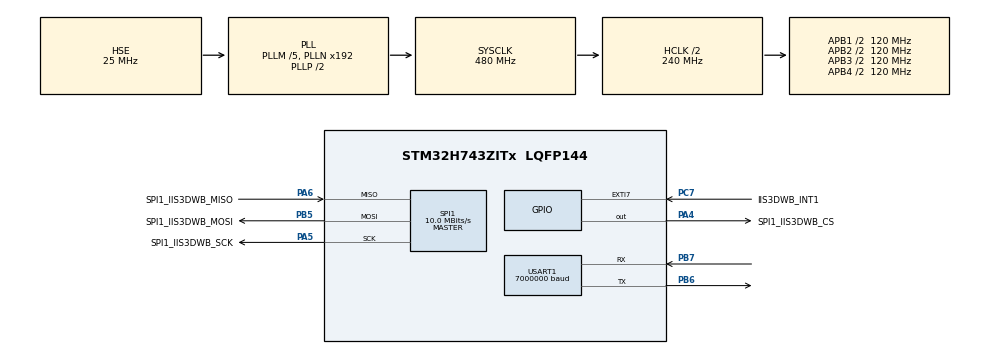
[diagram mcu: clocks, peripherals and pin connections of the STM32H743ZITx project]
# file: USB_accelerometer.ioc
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CORTEX_M7.CPU_DCache=Enabled
CORTEX_M7.CPU_ICache=Enabled
CORTEX_M7.default_mode_Activation=1
Mcu.Family=STM32H7
Mcu.Name=STM32H743ZITx
Mcu.Package=LQFP144
NVIC.EXTI9_5_IRQn=true\:5\:0\:true\:true\:true\:1\:true\:true\:true
NVIC.PriorityGroup=NVIC_PRIORITYGROUP_4
PA13\ (JTMS/SWDIO).Mode=Trace_Asynchronous_SW
PA13\ (JTMS/SWDIO).Signal=DEBUG_JTMS-SWDIO
PA14\ (JTCK/SWCLK).Mode=Trace_Asynchronous_SW
PA14\ (JTCK/SWCLK).Signal=DEBUG_JTCK-SWCLK
PA4.GPIO_Label=SPI1_IIS3DWB_CS
PA4.GPIO_PuPd=GPIO_PULLUP
PA4.GPIO_Speed=GPIO_SPEED_FREQ_MEDIUM
PA4.PinState=GPIO_PIN_SET
PA4.Signal=GPIO_Output
PA5.GPIO_Label=SPI1_IIS3DWB_SCK
PA5.GPIO_PuPd=GPIO_PULLUP
PA5.GPIO_Speed=GPIO_SPEED_FREQ_MEDIUM
PA5.Mode=Full_Duplex_Master
PA5.Signal=SPI1_SCK
PA6.GPIO_Label=SPI1_IIS3DWB_MISO
PA6.GPIO_PuPd=GPIO_PULLUP
PA6.GPIO_Speed=GPIO_SPEED_FREQ_MEDIUM
PA6.Mode=Full_Duplex_Master
PA6.Signal=SPI1_MISO
PB3\ (JTDO/TRACESWO).Mode=Trace_Asynchronous_SW
PB3\ (JTDO/TRACESWO).Signal=DEBUG_JTDO-SWO
PB5.GPIO_Label=SPI1_IIS3DWB_MOSI
PB5.GPIO_PuPd=GPIO_PULLUP
PB5.GPIO_Speed=GPIO_SPEED_FREQ_MEDIUM
PB5.Mode=Full_Duplex_Master
PB5.Signal=SPI1_MOSI
PB6.GPIO_FM6=SYSCFG_PMCR_I2C_PB6_FMP
PB6.GPIO_Speed=GPIO_SPEED_FREQ_VERY_HIGH
PB6.Mode=Asynchronous
PB6.Signal=USART1_TX
PB7.GPIO_PuPd=GPIO_PULLUP
PB7.GPIO_Speed=GPIO_SPEED_FREQ_VERY_HIGH
PB7.Mode=Asynchronous
PB7.Signal=USART1_RX
PC7.GPIO_Label=IIS3DWB_INT1
PC7.GPIO_ModeDefaultEXTI=GPIO_MODE_IT_RISING
PC7.GPIO_PuPd=GPIO_PULLUP
PC7.Signal=GPXTI7
PH0-OSC_IN\ (PH0).Mode=HSE-External-Oscillator
PH0-OSC_IN\ (PH0).Signal=RCC_OSC_IN
PH1-OSC_OUT\ (PH1).Mode=HSE-External-Oscillator
PH1-OSC_OUT\ (PH1).Signal=RCC_OSC_OUT
ProjectManager.HeapSize=0x200
ProjectManager.StackSize=0x400
ProjectManager.TargetToolchain=MDK-ARM V5.32
RCC.ADCFreq_Value=80000000
RCC.APB1Freq_Value=120000000
RCC.APB2Freq_Value=120000000
RCC.APB3Freq_Value=120000000
RCC.APB4Freq_Value=120000000
RCC.CortexFreq_Value=480000000
RCC.D1PPRE=RCC_APB3_DIV2
RCC.D2PPRE1=RCC_APB1_DIV2
RCC.D2PPRE2=RCC_APB2_DIV2
RCC.D3PPRE=RCC_APB4_DIV2
RCC.DIVM1=5
RCC.DIVM2=5
RCC.DIVM3=5
RCC.DIVN1=192
RCC.DIVN2=32
RCC.DIVN3=100
RCC.DIVP3=4
RCC.DIVQ3=4
RCC.HCLKFreq_Value=240000000
RCC.HPRE=RCC_HCLK_DIV2
RCC.HSEState-ClockTree=RCC_HSE_BYPASS
RCC.HSE_VALUE=25000000
RCC.I2C4Enable-ClockTree=true
RCC.PLL1_VCI_Range-AdvancedSettings=RCC_PLL1VCIRANGE_0
RCC.PLL2FRACN=0
RCC.PLL2_VCI_Range-AdvancedSettings=RCC_PLL2VCIRANGE_0
RCC.PLL2_VCO_SEL=RCC_PLL2VCOMEDIUM
RCC.PLL2_VCO_SEL-AdvancedSettings=RCC_PLL2VCOWIDE
RCC.PLL3FRACN=0
RCC.PLL3_VCI_Range-AdvancedSettings=RCC_PLL3VCIRANGE_0
RCC.PLLFRACN=0
RCC.PLLSourceVirtual=RCC_PLLSOURCE_HSE
RCC.SPI123CLockSelection=RCC_SPI123CLKSOURCE_PLL2
RCC.SYSCLKFreq_VALUE=480000000
RCC.SYSCLKSource=RCC_SYSCLKSOURCE_PLLCLK
RCC.USART16CLockSelection=RCC_USART16CLKSOURCE_PLL3
RCC.USBFreq_Value=480000000
SPI1.BaudRatePrescaler=SPI_BAUDRATEPRESCALER_8
SPI1.CLKPhase=SPI_PHASE_1EDGE
SPI1.CLKPolarity=SPI_POLARITY_LOW
SPI1.CalculateBaudRate=10.0 MBits/s
SPI1.DataSize=SPI_DATASIZE_8BIT
SPI1.Direction=SPI_DIRECTION_2LINES
SPI1.MasterInterDataIdleness=SPI_MASTER_INTERDATA_IDLENESS_00CYCLE
SPI1.MasterKeepIOState=SPI_MASTER_KEEP_IO_STATE_ENABLE
SPI1.MasterSSIdleness=SPI_MASTER_SS_IDLENESS_00CYCLE
SPI1.Mode=SPI_MODE_MASTER
SPI1.NSSPMode=SPI_NSS_PULSE_DISABLE
SPI1.VirtualType=VM_MASTER
USART1.BaudRate=7000000
USART1.FIFOMode=FIFOMODE_DISABLE
USART1.VirtualMode-Asynchronous=VM_ASYNC
board=custom

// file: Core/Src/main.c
/* USER CODE BEGIN Header */
/**
  ******************************************************************************
  * @file           : main.c
  * @brief          : Main program body
  ******************************************************************************
  * @attention
  *
  * Copyright (c) 2022 STMicroelectronics.
  * All rights reserved.
  *
  * This software is licensed under terms that can be found in the LICENSE file
  * in the root directory of this software component.
  * If no LICENSE file comes with this software, it is provided AS-IS.
  *
  ******************************************************************************
  */
/* USER CODE END Header */
#include "main.h"
#include "spi.h"
#include "usart.h"
#include "gpio.h"

/* USER CODE BEGIN Includes */
#include "stdio.h"
#include "string.h"
#include "stdbool.h"
#include "iis3dwb_reg.h"
#include "stdlib.h"
/* USER CODE END Includes */

/* USER CODE BEGIN PV */
static int16_t data_raw_acceleration[3];
static int16_t data_raw_temperature;
static float acceleration_mg[3];
static float temperature_degC;
static uint8_t whoamI, rst;
static uint8_t tx_buffer[1000];

const uint16_t f_signal = 1000;
const uint16_t n_samples = 10000;
const uint16_t f_sample = 10000;
const double amplitude = 1;
const double pi = 3.14159265358979323846;

//double time[n_samples];
double x[n_samples];
double y[n_samples];
double z[n_samples];

long long no = 0;
#define DATA_LEN 25
char data_string[DATA_LEN];

uint32_t delta_t_s;
/* USER CODE END PV */

void SystemClock_Config(void);
static void MPU_Config(void);
static void MX_NVIC_Init(void);
/* USER CODE BEGIN PFP */
static int32_t platform_write(void *handle, uint8_t reg, const uint8_t *bufp,
                              uint16_t len);
static int32_t platform_read(void *handle, uint8_t reg, uint8_t *bufp,
                             uint16_t len);
static void SWO_ITM_enable(void);
bool itoaBase10(int32_t num, char *str, size_t length);

/* USER CODE END PFP */

/* USER CODE BEGIN 0 */
  stmdev_ctx_t dev_ctx;
volatile bool getMeas = false;
/* USER CODE END 0 */

int main(void)
{

  /* MPU Configuration--------------------------------------------------------*/
  MPU_Config();

  /* Enable I-Cache---------------------------------------------------------*/
  SCB_EnableICache();

  /* Enable D-Cache---------------------------------------------------------*/
  SCB_EnableDCache();

  /* MCU Configuration--------------------------------------------------------*/

  /* Reset of all peripherals, Initializes the Flash interface and the Systick. */
  HAL_Init();

  /* Configure the system clock */
  SystemClock_Config();

  /* Initialize all configured peripherals */
  MX_GPIO_Init();
  MX_SPI1_Init();
  MX_USART1_UART_Init();

  /* Initialize interrupts */
  MX_NVIC_Init();
  /* USER CODE BEGIN 2 */
	SWO_ITM_enable();

//	for (uint32_t i = 0; i < n_samples; i++)
//	{
////		time[i] = i*(1.0/f_sample);
//		x[i] = sin(i*(1.0/f_sample) * f_signal * 2 * pi) * amplitude;;
//		y[i] = 1 + sin(i*(1.0/f_sample) * f_signal * 2 * pi) * amplitude;;
//		z[i] = 2 + sin(i*(1.0/f_sample) * f_signal * 2 * pi) * amplitude;;
//	}

//	while(1)
//	{
//		for (uint32_t i = 0; i < n_samples; i++)
//		{
//			sprintf(data_string, "%lld;%f;%f;%f\n", no, x[i], y[i], z[i]);
//			HAL_UART_Transmit(&huart1, (uint8_t *)data_string, strlen(data_string), 100);
//			no++;
//		}
//	}

  stmdev_ctx_t dev_ctx;
  /* Initialize mems driver interface */
  dev_ctx.write_reg = platform_write;
  dev_ctx.read_reg = platform_read;
  dev_ctx.handle = &hspi1;

	do{
		/* Wait sensor boot time */
		HAL_Delay(10);
		/* Check device ID */
		iis3dwb_device_id_get(&dev_ctx, &whoamI);
	}while(whoamI != IIS3DWB_ID);

  /* Restore default configuration */
  iis3dwb_reset_set(&dev_ctx, PROPERTY_ENABLE);

  do {
    iis3dwb_reset_get(&dev_ctx, &rst);
  } while (rst);

  /* Enable Block Data Update */
  iis3dwb_block_data_update_set(&dev_ctx, PROPERTY_ENABLE);
  /* Set Output Data Rate */
  iis3dwb_xl_data_rate_set(&dev_ctx, IIS3DWB_XL_ODR_26k7Hz);
  /* Set full scale */
  iis3dwb_xl_full_scale_set(&dev_ctx, IIS3DWB_2g);
  /* Configure filtering chain(No aux interface)
   * Accelerometer low pass filter path
   */
  iis3dwb_xl_filt_path_on_out_set(&dev_ctx, IIS3DWB_HP_ODR_DIV_10);

	iis3dwb_pin_int1_route_t temp;
	temp.drdy_xl = 1;
	iis3dwb_pin_int1_route_set(&dev_ctx, &temp);
	iis3dwb_data_ready_mode_set(&dev_ctx, IIS3DWB_DRDY_PULSED);

	uint8_t reg;
	uint32_t str_len = 0;
	memset(data_string, 0x00, DATA_LEN);
	HAL_Delay(10);

	/* Enable INT1 interrupt */
	HAL_NVIC_SetPriority(EXTI9_5_IRQn, 0, 0);
  HAL_NVIC_EnableIRQ(EXTI9_5_IRQn);
  /* USER CODE END 2 */

  /* Infinite loop */
  while (1)
  {

    /* USER CODE BEGIN 3 */

//		/* Read output only if new xl value is available */
//		iis3dwb_xl_flag_data_ready_get(&dev_ctx, &reg);
//		if (reg) {
//			/* Read acceleration field data */
//			iis3dwb_acceleration_raw_get(&dev_ctx, data_raw_acceleration);
////			acceleration_mg[0] = iis3dwb_from_fs2g_to_mg(data_raw_acceleration[0]);
////			acceleration_mg[1] = iis3dwb_from_fs2g_to_mg(data_raw_acceleration[1]);
////			acceleration_mg[2] = iis3dwb_from_fs2g_to_mg(data_raw_acceleration[2]);
//			memset(data_string, '0x0A', strlen(data_string));
//			_sprintf(data_string, "0;%i;%i;%i\n", data_raw_acceleration[0], data_raw_acceleration[1], data_raw_acceleration[2]);
//			HAL_UART_Transmit(&huart1, (uint8_t *)data_string, strlen(data_string), 10);
//			no++;
//		}

		char num[10];

		if(getMeas == true)
		{
			iis3dwb_acceleration_raw_get(&dev_ctx, data_raw_acceleration);
			memset(data_string, 0x00, DATA_LEN);
			_sprintf(data_string, "0;%hx;%hx;%hx\n", (int16_t)data_raw_acceleration[0], (int16_t)data_raw_acceleration[1], (int16_t)data_raw_acceleration[2]);
//			memset(data_string, 0x00, sizeof(data_string));
//			strcat(data_string, "0;");
//			itoaBase10(data_raw_acceleration[0], num, 7);
//			strcat(data_string, num);
//			strcat(data_string, ";");
//			memset(num, 0x00, sizeof(num));
//			itoaBase10(data_raw_acceleration[1], num, 7);
//			strcat(data_string, num);
//			strcat(data_string, ";");
//			memset(num, 0x00, sizeof(num));
//			itoaBase10(data_raw_acceleration[2], num, 7);
//			strcat(data_string, num);
//			strcat(data_string, "\n");
//			memset(num, 0x00, sizeof(num));
			HAL_UART_Transmit_IT(&huart1, (uint8_t *)data_string, strlen(data_string));

			no++;
			getMeas = false;
		}

//		iis3dwb_temp_flag_data_ready_get(&dev_ctx, &reg);

//		if (reg) {
//			/* Read temperature data */
//			memset(&data_raw_temperature, 0x00, sizeof(int16_t));
//			iis3dwb_temperature_raw_get(&dev_ctx, &data_raw_temperature);
//			temperature_degC = iis3dwb_from_lsb_to_celsius(data_raw_temperature);
//			printf("Temperature [degC]:%6.2f\r\n", temperature_degC);
//		}
	}
  /* USER CODE END 3 */
}

void SystemClock_Config(void)
{
  RCC_OscInitTypeDef RCC_OscInitStruct = {0};
  RCC_ClkInitTypeDef RCC_ClkInitStruct = {0};

  /** Supply configuration update enable
  */
  HAL_PWREx_ConfigSupply(PWR_LDO_SUPPLY);

  /** Configure the main internal regulator output voltage
  */
  __HAL_PWR_VOLTAGESCALING_CONFIG(PWR_REGULATOR_VOLTAGE_SCALE0);

  while(!__HAL_PWR_GET_FLAG(PWR_FLAG_VOSRDY)) {}

  /** Macro to configure the PLL clock source
  */
  __HAL_RCC_PLL_PLLSOURCE_CONFIG(RCC_PLLSOURCE_HSE);

  /** Initializes the RCC Oscillators according to the specified parameters
  * in the RCC_OscInitTypeDef structure.
  */
  RCC_OscInitStruct.OscillatorType = RCC_OSCILLATORTYPE_HSE;
  RCC_OscInitStruct.HSEState = RCC_HSE_ON;
  RCC_OscInitStruct.PLL.PLLState = RCC_PLL_ON;
  RCC_OscInitStruct.PLL.PLLSource = RCC_PLLSOURCE_HSE;
  RCC_OscInitStruct.PLL.PLLM = 5;
  RCC_OscInitStruct.PLL.PLLN = 192;
  RCC_OscInitStruct.PLL.PLLP = 2;
  RCC_OscInitStruct.PLL.PLLQ = 2;
  RCC_OscInitStruct.PLL.PLLR = 2;
  RCC_OscInitStruct.PLL.PLLRGE = RCC_PLL1VCIRANGE_2;
  RCC_OscInitStruct.PLL.PLLVCOSEL = RCC_PLL1VCOWIDE;
  RCC_OscInitStruct.PLL.PLLFRACN = 0;
  if (HAL_RCC_OscConfig(&RCC_OscInitStruct) != HAL_OK)
  {
    Error_Handler();
  }

  /** Initializes the CPU, AHB and APB buses clocks
  */
  RCC_ClkInitStruct.ClockType = RCC_CLOCKTYPE_HCLK|RCC_CLOCKTYPE_SYSCLK
                              |RCC_CLOCKTYPE_PCLK1|RCC_CLOCKTYPE_PCLK2
                              |RCC_CLOCKTYPE_D3PCLK1|RCC_CLOCKTYPE_D1PCLK1;
  RCC_ClkInitStruct.SYSCLKSource = RCC_SYSCLKSOURCE_PLLCLK;
  RCC_ClkInitStruct.SYSCLKDivider = RCC_SYSCLK_DIV1;
  RCC_ClkInitStruct.AHBCLKDivider = RCC_HCLK_DIV2;
  RCC_ClkInitStruct.APB3CLKDivider = RCC_APB3_DIV2;
  RCC_ClkInitStruct.APB1CLKDivider = RCC_APB1_DIV2;
  RCC_ClkInitStruct.APB2CLKDivider = RCC_APB2_DIV2;
  RCC_ClkInitStruct.APB4CLKDivider = RCC_APB4_DIV2;

  if (HAL_RCC_ClockConfig(&RCC_ClkInitStruct, FLASH_LATENCY_4) != HAL_OK)
  {
    Error_Handler();
  }
}

/**
  * @brief NVIC Configuration.
  * @retval None
  */
static void MX_NVIC_Init(void)
{
  /* EXTI9_5_IRQn interrupt configuration */
  HAL_NVIC_SetPriority(EXTI9_5_IRQn, 5, 0);
  HAL_NVIC_EnableIRQ(EXTI9_5_IRQn);
  /* USART1_IRQn interrupt configuration */
  HAL_NVIC_SetPriority(USART1_IRQn, 0, 0);
  HAL_NVIC_EnableIRQ(USART1_IRQn);
}

/* USER CODE BEGIN 4 */
/*
 * @brief  Write generic device register (platform dependent)
 *
 * @param  handle    customizable argument. In this examples is used in
 *                   order to select the correct sensor bus handler.
 * @param  reg       register to write
 * @param  bufp      pointer to data to write in register reg
 * @param  len       number of consecutive register to write
 *
 */
static int32_t platform_write(void *handle, uint8_t reg, const uint8_t *bufp, uint16_t len)
{
	HAL_StatusTypeDef errorcode = HAL_OK;
  if (handle == &hspi1)
	{
		SPI1_IIS3DWB_CS_GPIO_Port->BSRR = (uint32_t) SPI1_IIS3DWB_CS_Pin << 16U;
    HAL_SPI_Transmit(handle, &reg, 1, 10);
    HAL_SPI_Transmit(handle, (uint8_t*) bufp, len, 10);
		SPI1_IIS3DWB_CS_GPIO_Port->BSRR = (uint32_t) SPI1_IIS3DWB_CS_Pin;
  }
	return errorcode;
}

/*
 * @brief  Read generic device register (platform dependent)
 *
 * @param  handle    customizable argument. In this examples is used in
 *                   order to select the correct sensor bus handler.
 * @param  reg       register to read
 * @param  bufp      pointer to buffer that store the data read
 * @param  len       number of consecutive register to read
 *
 */
static int32_t platform_read(void *handle, uint8_t reg, uint8_t *bufp, uint16_t len)
{
	HAL_StatusTypeDef errorcode = HAL_OK;
  if (handle == &hspi1)
	{
    /* Read command */
    reg |= 0x80;
		SPI1_IIS3DWB_CS_GPIO_Port->BSRR = (uint32_t) SPI1_IIS3DWB_CS_Pin << 16U;
    HAL_SPI_Transmit(handle, &reg, 1, 10);
    HAL_SPI_Receive(handle, bufp, len, 10);
		SPI1_IIS3DWB_CS_GPIO_Port->BSRR = (uint32_t) SPI1_IIS3DWB_CS_Pin;
  }
  return errorcode;
}

static void SWO_ITM_enable(void)
{
	extern uint32_t SystemCoreClock;
  /*
    This functions recommends system speed of 400000000Hz and will
    use SWO clock speed of 2000000Hz

    # GDB OpenOCD commands to connect to this:
    monitor tpiu config internal - uart off 400000000
    monitor itm port 0 on

    Code Gen Ref: https://gist.github.com/mofosyne/178ad947fdff0f357eb0e03a42bcef5c
  */

  /* Setup SWO and SWO funnel (Note: SWO_BASE and SWTF_BASE not defined in stm32h743xx.h) */
  // DBGMCU_CR : Enable D3DBGCKEN D1DBGCKEN TRACECLKEN Clock Domains
  DBGMCU->CR =  DBGMCU_CR_DBG_CKD3EN | DBGMCU_CR_DBG_CKD1EN | DBGMCU_CR_DBG_TRACECKEN; // DBGMCU_CR
  // SWO_LAR & SWTF_LAR : Unlock SWO and SWO Funnel
  *((uint32_t *)(0x5c003fb0)) = 0xC5ACCE55; // SWO_LAR
  *((uint32_t *)(0x5c004fb0)) = 0xC5ACCE55; // SWTF_LAR
  // SWO_CODR  : 480000000Hz -> 2000000Hz
  // Note: SWOPrescaler = ((sysclock_Hz / SWOSpeed_Hz) - 1) --> 0x0000c7 = 199 = (480000000 / 2000000) - 1)
//	/* J-link */
//  *((uint32_t *)(0x5c003010)) = ((SystemCoreClock /  4484581) - 1); // SWO_CODR
	/* St-link */
  *((uint32_t *)(0x5c003010)) = ((SystemCoreClock /  12000000) - 1); // SWO_CODR
  // SWO_SPPR : (2:  SWO NRZ, 1:  SWO Manchester encoding)
  *((uint32_t *)(0x5c0030f0)) = 0x00000002; // SWO_SPPR
  // SWTF_CTRL : enable SWO
  *((uint32_t *)(0x5c004000)) |= 0x1; // SWTF_CTRL

  /* SWO GPIO Pin Setup */
  //RCC_AHB4ENR enable GPIOB clock
  *(__IO uint32_t*)(0x580244E0) |= 0x00000002;
  // Configure GPIOB pin 3 as AF
  *(__IO uint32_t*)(0x58020400) = (*(__IO uint32_t*)(0x58020400) & 0xffffff3f) | 0x00000080;
  // Configure GPIOB pin 3 Speed
  *(__IO uint32_t*)(0x58020408) |= 0x00000080;
  // Force AF0 for GPIOB pin 3
  *(__IO uint32_t*)(0x58020420) &= 0xFFFF0FFF;
}

#define ITM_Port8(n)    (*((volatile unsigned char *)(0xE0000000+4*n)))
#define ITM_Port16(n)   (*((volatile unsigned short*)(0xE0000000+4*n)))
#define ITM_Port32(n)   (*((volatile unsigned long *)(0xE0000000+4*n)))

#define DEMCR           (*((volatile unsigned long *)(0xE000EDFC)))
#define TRCENA          0x01000000

struct __FILE { int handle; /* Add whatever you need here */ };
FILE __stdout;
FILE __stdin;

int fputc(int ch, FILE *f) {
  if (DEMCR & TRCENA) {
    while (ITM_Port32(0) == 0);
    ITM_Port8(0) = ch;
  }
  return(ch);
}

/*
  Modified from:
  https://gist.github.com/madex/c5cd5c6a23965a845d6e

  This only works for up to 9 digits and only for base 10 numbers,
  but no division is used and this method is very fast.
*/

#include <stdbool.h>
#include <stdint.h>
#include <string.h>

bool itoaBase10(int32_t num, char *str, size_t length)
{
    /* output is at least sign char, one digit and a terminating NUL */
    if (!str || length <= 2) {
        return false;
    }

    if (!num) {
        /* special-case zero (which would be skipped as a leading 0) */
        strcpy(str, " 0");
        return true;
    }

    static const uint32_t subtractands[] =  {
        1000000000,
        100000000,
        10000000,
        1000000,
        100000,
        10000,
        1000,
        100,
        10,
        1,
        0
    };

    /* last possible position for NUL */
    char const *const last_pos = str + length - 1;
    /* work with a positive version of num */
    uint32_t u = num < 0 ? -(uint32_t)num : (uint32_t)num;

    /* write sign character */
    *str++ = num < 0 ? '-' : '+';

    /* skip leading zeros */
    uint32_t const *sub = subtractands;
    while (u < *sub) {
        ++sub;
    }

    /* write the digits */
    while (*sub)  {
        if (str >= last_pos) {
            /* no space for NUL */
            return false;
        }
        char n = '0';
        while (u >= *sub) { u -= *sub; ++n; }
        *str++ = n;
        ++sub;
    }

    *str = '\0';
    return true;
}

/* USER CODE END 4 */

/* MPU Configuration */

void MPU_Config(void)
{
  MPU_Region_InitTypeDef MPU_InitStruct = {0};

  /* Disables the MPU */
  HAL_MPU_Disable();

  /** Initializes and configures the Region and the memory to be protected
  */
  MPU_InitStruct.Enable = MPU_REGION_ENABLE;
  MPU_InitStruct.Number = MPU_REGION_NUMBER0;
  MPU_InitStruct.BaseAddress = 0x0;
  MPU_InitStruct.Size = MPU_REGION_SIZE_4GB;
  MPU_InitStruct.SubRegionDisable = 0x87;
  MPU_InitStruct.TypeExtField = MPU_TEX_LEVEL0;
  MPU_InitStruct.AccessPermission = MPU_REGION_NO_ACCESS;
  MPU_InitStruct.DisableExec = MPU_INSTRUCTION_ACCESS_DISABLE;
  MPU_InitStruct.IsShareable = MPU_ACCESS_SHAREABLE;
  MPU_InitStruct.IsCacheable = MPU_ACCESS_NOT_CACHEABLE;
  MPU_InitStruct.IsBufferable = MPU_ACCESS_NOT_BUFFERABLE;

  HAL_MPU_ConfigRegion(&MPU_InitStruct);
  /* Enables the MPU */
  HAL_MPU_Enable(MPU_PRIVILEGED_DEFAULT);

}

void Error_Handler(void)
{
  __disable_irq();
  while (1)
  {
  }
}
